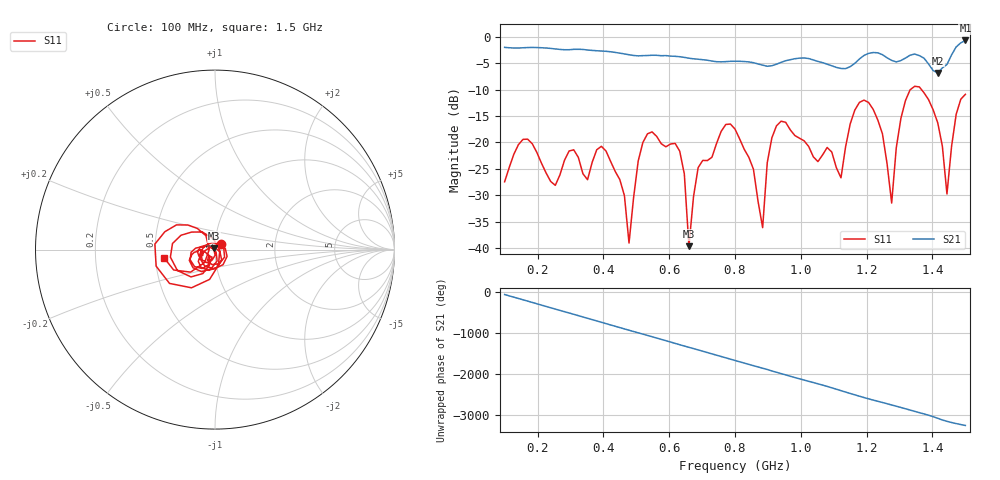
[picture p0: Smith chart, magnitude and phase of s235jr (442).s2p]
! NanoVNA-App
! Date: 2025-09-25 15:07:36
! Start: 100MHz Stop: 1,5GHz Points: 101
! S-Parameter data: F S11 S21 S12 S22
# Hz S RI R 50
!  Frequency  S11_Real  S11_Imag  S21_Real  S21_Imag  S12_Real  S12_Imag  S22_Real  S22_Imag
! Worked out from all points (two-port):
!   101 points, 100 MHz to 1.5 GHz, reference 50 ohm
!   highest |S21| = -0.65 dB at 1.5 GHz (marker M1); lowest = -6.8 dB at 1.416 GHz (marker M2)
!   |S21| within 3 dB of the highest: start of sweep to 615.2 MHz; 1.189 GHz to 1.255 GHz (66.45 MHz wide, 5.44 % of centre) (the widest 2 of 4)
!   lowest |S11| = -39.7 dB at 660 MHz (marker M3), VSWR 1.02, Z = 49.2 + j0.634 ohm
!   |S11| at or under -10 dB: start of sweep to 1.332 GHz; 1.367 GHz to end of sweep
!   S12 and S22 are empty: the file has one direction only
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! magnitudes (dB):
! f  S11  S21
! 100 MHz  -27.5  -2.0
! 156 MHz  -19.4  -2.0
! 338 MHz  -25.9  -2.4
! 408 MHz  -21.6  -2.7
! 478 MHz  -39.1  -3.4
! 520 MHz  -20.0  -3.5
! 576 MHz  -20.3  -3.5
! 632 MHz  -21.6  -3.7
! 660 MHz  -39.7  -4.0
! 688 MHz  -24.8  -4.2
! 800 MHz  -17.5  -4.6
! 884 MHz  -36.2  -5.3
! 898 MHz  -23.8  -5.5
! 926 MHz  -16.9  -5.2
! 1.038 GHz  -22.7  -4.4
! 1.122 GHz  -26.7  -6.0
! 1.206 GHz  -12.4  -3.1
! 1.276 GHz  -31.5  -4.4
! 1.332 GHz  -10.0  -3.4
! 1.416 GHz  -16.3  -6.8
! 1.444 GHz  -29.8  -5.2
! 1.5 GHz  -10.9  -0.7
